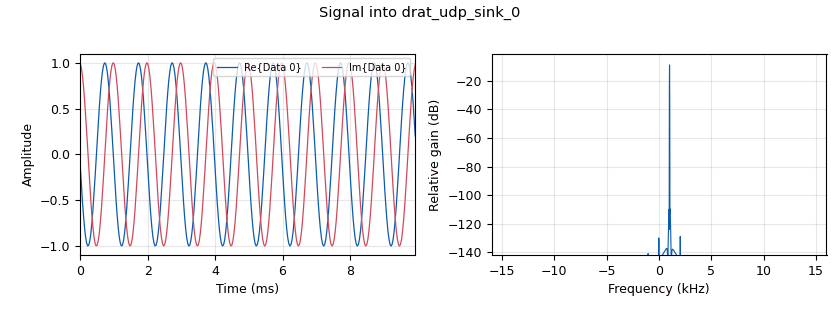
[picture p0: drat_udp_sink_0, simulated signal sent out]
options:
  parameters:
    author: Daniel Estevez
    generate_options: qt_gui
    id: loopback_burst
    output_language: python
    title: DRaT loopback (burst mode)
  states: {}

blocks:
- name: burst_len
  id: variable
  parameters:
    value: samp_rate
  states: {}
- name: eob_tag
  id: variable_tag_object
  parameters:
    key: pmt.intern("EOB")
    offset: burst_len - 1
    src: pmt.intern("src")
    value: pmt.PMT_NIL
  states: {}
- name: samp_rate
  id: variable
  parameters:
    value: '32000'
  states: {}
- name: sob_tag
  id: variable_tag_object
  parameters:
    key: pmt.intern("SOB")
    offset: '0'
    src: pmt.intern("src")
    value: pmt.PMT_NIL
  states: {}
- name: timestamp_epoch
  id: variable
  parameters:
    value: (datetime.datetime(2000, 1, 1) - datetime.datetime(1970, 1, 1)).total_seconds()
  states: {}
- name: analog_sig_source_x_0
  id: analog_sig_source_x
  parameters:
    amp: '1'
    freq: '1001'
    offset: '0'
    phase: '0'
    samp_rate: samp_rate
    type: complex
    waveform: analog.GR_COS_WAVE
  states: {}
- name: blocks_tag_debug_0
  id: blocks_tag_debug
  parameters:
    type: complex
  states: {}
- name: blocks_tag_share_0
  id: blocks_tag_share
  parameters:
    io_type: complex
    share_type: complex
  states: {}
- name: blocks_vector_source_x_0
  id: blocks_vector_source_x
  parameters:
    repeat: 'True'
    tags: '[sob_tag, eob_tag]'
    type: complex
    vector: '[0] * burst_len'
  states: {}
- name: drat_time_source_0
  id: drat_time_source
  parameters:
    flow_id: '0'
    initial_timestamp: round((datetime.datetime.utcnow() - datetime.datetime(2000, 1, 1)).total_seconds() * samp_rate)
    ip: 127.0.0.1
    period: '0.1'
    port: '1235'
    samp_rate: samp_rate
  states: {}
- name: drat_udp_sink_0
  id: drat_udp_sink
  parameters:
    async_mode: 'True'
    burst_mode: 'True'
    custom_drat_types: 'False'
    dest_addr: 127.0.0.1
    dest_port: '1234'
    drat_type: '0'
    drat_type_eob: '0'
    flow_id: '0'
    initial_time: '123456789.0001'
    len_tag_key: ''
    maximum_latency: '100'
    packet_size: '1472'
    samp_rate: samp_rate
    self_clocked: 'False'
    status_addr: 0.0.0.0
    status_filter_flow: 'False'
    status_flow_id: '0'
    status_port: '1236'
    ticks_per_sample: '1'
    time_report_addr: 0.0.0.0
    time_report_filter_flow: 'False'
    time_report_flow_id: '0'
    time_report_port: '1235'
    timestamp_epoch: timestamp_epoch
    type: complex
  states: {}
- name: drat_udp_source_0
  id: drat_udp_source
  parameters:
    burst_mode: 'True'
    custom_drat_types: 'False'
    drat_type: '0'
    drat_type_eob: '0'
    filter_flow: 'False'
    flow_id: '0'
    listen_addr: 0.0.0.0
    listen_port: '1234'
    recv_timeout: '1000'
    samp_rate: samp_rate
    send_ack_every: '100'
    status_addr: 127.0.0.1
    status_flow_id: '0'
    status_port: '1236'
    ticks_per_sample: '1'
    timestamp_epoch: timestamp_epoch
    type: complex
    zero_fill_lost: 'False'
  states: {}
- name: import_0
  id: import
  parameters:
    imports: import pmt
  states: {}
- name: import_1
  id: import
  parameters:
    imports: import datetime
  states: {}
- name: qtgui_time_sink_x_0
  id: qtgui_time_sink_x
  parameters:
    size: '1024'
    srate: samp_rate
    type: complex
  states: {}

connections:
- [analog_sig_source_x_0, '0', blocks_tag_share_0, '0']
- [blocks_tag_share_0, '0', drat_udp_sink_0, '0']
- [blocks_vector_source_x_0, '0', blocks_tag_share_0, '1']
- [drat_udp_source_0, '0', blocks_tag_debug_0, '0']
- [drat_udp_source_0, '0', qtgui_time_sink_x_0, '0']

metadata:
  file_format: 1
  grc_version: 3.10.7.0
